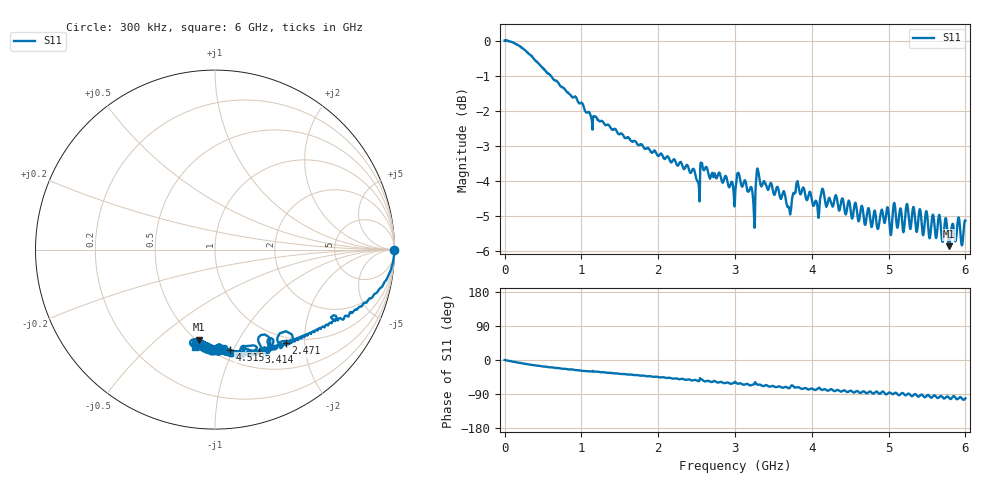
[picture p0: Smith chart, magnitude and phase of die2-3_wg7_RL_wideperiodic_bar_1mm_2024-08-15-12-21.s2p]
!Keysight Technologies,P9374A,MY57304198,A.17.20.09
!Date: Thursday, August 15, 2024 12:22:27
!Correction: S11(C  1-Port  )
!S21(C  1-Port  )
!S12(Off)
!S22(Off)
!S2P File: Measurements: S11, S21, S12, S22:
# Hz S  dB  R 50
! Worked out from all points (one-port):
!   6000 points, 300 kHz to 6 GHz, reference 50 ohm
!   lowest |S11| = -5.9 dB at 5.788 GHz (marker M1), VSWR 3.07, Z = 25.8 - j34.9 ohm
!   |S11| at or under -10 dB: nowhere
!   S11 on the Smith chart (normalised r, x): 300 kHz: open; 2.471 GHz: 0.90, -1.63; 3.414 GHz: 0.69, -1.27; 4.515 GHz: 0.59, -0.96; 6 GHz: 0.46, -0.71
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300000  -0.00 -0.0  -200.00 45.0  -200.00 45.0  -200.00 45.0
4.123481e8  -0.59 -14.8  -200.00 45.0  -200.00 45.0  -200.00 45.0
1.000417e9  -1.78 -28.4  -200.00 45.0  -200.00 45.0  -200.00 45.0
2.000533e9  -3.30 -45.0  -200.00 45.0  -200.00 45.0  -200.00 45.0
2.470588e9  -3.71 -52.7  -200.00 45.0  -200.00 45.0  -200.00 45.0
2.511593e9  -4.02 -55.1  -200.00 45.0  -200.00 45.0  -200.00 45.0
2.5706e9  -3.50 -51.8  -200.00 45.0  -200.00 45.0  -200.00 45.0
2.687614e9  -3.86 -57.9  -200.00 45.0  -200.00 45.0  -200.00 45.0
3.00065e9  -4.47 -57.1  -200.00 45.0  -200.00 45.0  -200.00 45.0
3.120664e9  -4.01 -65.1  -200.00 45.0  -200.00 45.0  -200.00 45.0
3.248679e9  -5.04 -64.6  -200.00 45.0  -200.00 45.0  -200.00 45.0
3.302685e9  -3.73 -65.3  -200.00 45.0  -200.00 45.0  -200.00 45.0
3.413698e9  -4.18 -66.8  -200.00 45.0  -200.00 45.0  -200.00 45.0
3.691731e9  -4.75 -74.1  -200.00 45.0  -200.00 45.0  -200.00 45.0
3.751738e9  -4.42 -67.7  -200.00 45.0  -200.00 45.0  -200.00 45.0
3.805744e9  -4.05 -72.1  -200.00 45.0  -200.00 45.0  -200.00 45.0
4.000767e9  -4.55 -75.4  -200.00 45.0  -200.00 45.0  -200.00 45.0
4.514827e9  -5.00 -81.7  -200.00 45.0  -200.00 45.0  -200.00 45.0
5.000883e9  -4.93 -86.3  -200.00 45.0  -200.00 45.0  -200.00 45.0
5.240911e9  -4.67 -90.9  -200.00 45.0  -200.00 45.0  -200.00 45.0
5.787975e9  -5.87 -100.0  -200.00 45.0  -200.00 45.0  -200.00 45.0
6e9  -5.14 -101.3  -200.00 45.0  -200.00 45.0  -200.00 45.0
